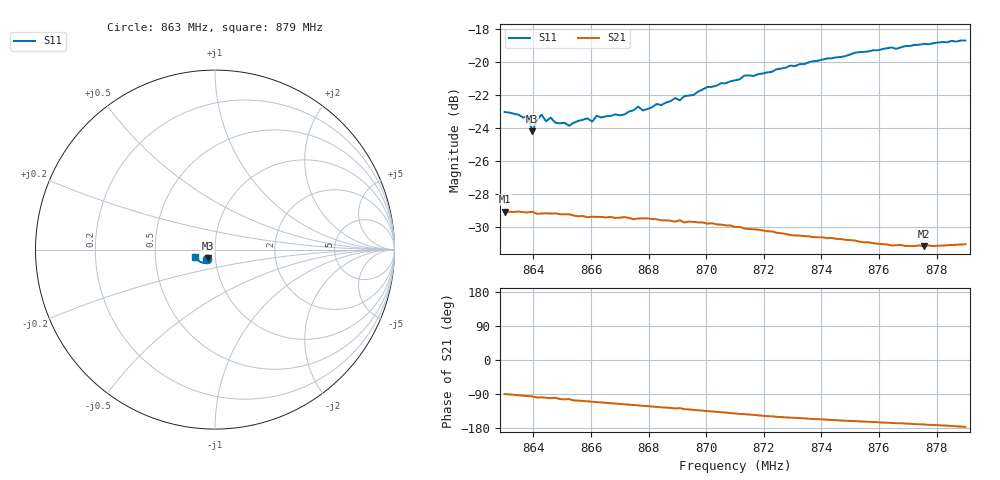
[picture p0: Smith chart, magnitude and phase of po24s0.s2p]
# HZ S RI R 50
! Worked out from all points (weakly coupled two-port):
!   101 points, 863 MHz to 879 MHz, reference 50 ohm
!   highest |S21| = -29.06 dB at 863 MHz (marker M1); lowest = -31.2 dB at 877.56 MHz (marker M2)
!   lowest |S11| = -24.2 dB at 863.96 MHz (marker M3), VSWR 1.13, Z = 46 - j4.37 ohm
!   |S11| at or under -10 dB: start of sweep to end of sweep
!   S12 and S22 are empty: the file has one direction only
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8.63e8  -0.0458 -0.0535  0.000152 -0.0352  0 0  0 0
8.638e8  -0.0424 -0.0538  -0.00312 -0.0349  0 0  0 0
8.6396e8  -0.0394 -0.0474  -0.00366 -0.035  0 0  0 0
8.6428e8  -0.0412 -0.0556  -0.00506 -0.0344  0 0  0 0
8.6444e8  -0.0395 -0.053  -0.00582 -0.0343  0 0  0 0
8.646e8  -0.0412 -0.0538  -0.00645 -0.0341  0 0  0 0
8.6476e8  -0.0359 -0.0548  -0.00581 -0.0343  0 0  0 0
8.6524e8  -0.0339 -0.0543  -0.00778 -0.0337  0 0  0 0
8.6572e8  -0.0349 -0.0569  -0.0106 -0.0325  0 0  0 0
8.6604e8  -0.0337 -0.0566  -0.0116 -0.0319  0 0  0 0
8.662e8  -0.0359 -0.0585  -0.0122 -0.0317  0 0  0 0
8.67e8  -0.0342 -0.0598  -0.0148 -0.0303  0 0  0 0
8.6764e8  -0.0361 -0.0636  -0.0167 -0.0291  0 0  0 0
8.678e8  -0.0345 -0.0623  -0.0172 -0.0289  0 0  0 0
8.6844e8  -0.0351 -0.0651  -0.0189 -0.0272  0 0  0 0
8.6956e8  -0.0402 -0.0684  -0.0218 -0.0245  0 0  0 0
8.7004e8  -0.0422 -0.0724  -0.0228 -0.023  0 0  0 0
8.71e8  -0.0484 -0.0733  -0.0246 -0.0199  0 0  0 0
8.7372e8  -0.0683 -0.0736  -0.0269 -0.0121  0 0  0 0
8.7644e8  -0.0922 -0.0608  -0.027 -0.0067  0 0  0 0
8.7756e8  -0.1006 -0.052  -0.0273 -0.00479  0 0  0 0
8.79e8  -0.1092 -0.0389  -0.028 -0.00167  0 0  0 0
